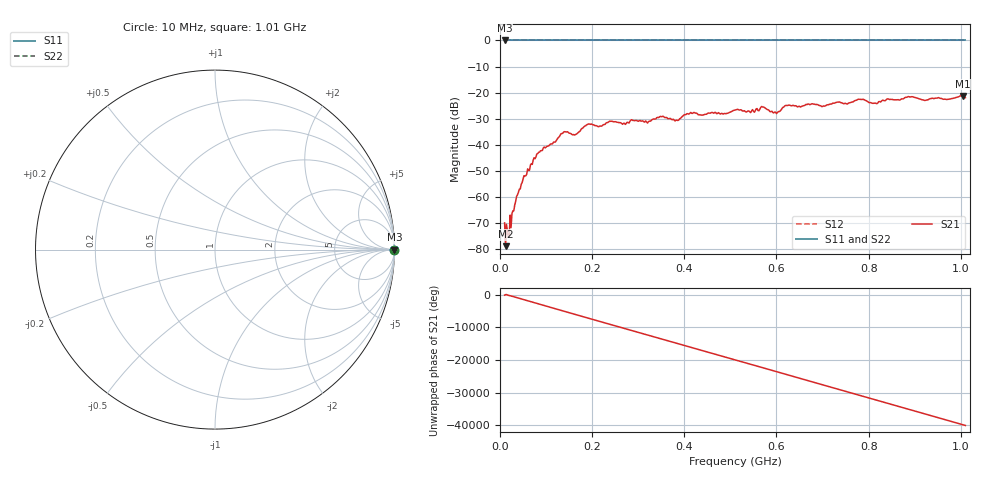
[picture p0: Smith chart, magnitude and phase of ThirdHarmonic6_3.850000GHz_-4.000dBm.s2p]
! 8/17/2025 1:25:46 PM
! C:\ANRITSUVNA\TEMP\TEMP.S2P
! CHANNEL.1
! TR.MEASUREMENT
! RAW.DATA
! RF.CORRECTION.OFF
! AVERAGING.OFF
! IF.BANDWIDTH: 5KHZ
! SWEEPTYPE:  FREQ.SWEEP(Linear)
! Reference Plane Port Info
! PORT:  PORT1  PORT2
! DISTANCE:  0  m  0  m
! TIME:  0  s  0  s
! PHASE.OFFSET:  0  deg.  0  deg.
! LOSS:  0  dB  0  dB
! REF.LOSS:  0  dB  0  dB
! REF.FREQ:  0  Hz  0  Hz
! Power Info
! POWER:  -20  dBm  -20  dBm
! EFF.POWER:  -20  dBm  -20  dBm
! SOURCE.ATTEN:  0  dB  0  dB
! TEST.ATTEN:  0  dB  0  dB
# GHZ S RI R 50.0
! FREQ.GHZ  S11RE  S11IM  S21RE  S21IM  S12RE  S12IM  S22RE  S22IM
!; PortSelection: Port_12
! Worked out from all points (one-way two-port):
!   501 points, 10 MHz to 1.01 GHz, reference 50 ohm
!   highest |S21| = -21.27 dB at 1.004 GHz (marker M1); lowest = -79.0 dB at 12 MHz (marker M2)
!   lowest |S11| = 0.0 dB at 10 MHz (marker M3)
!   |S11| at or under -10 dB: nowhere
!   |S22| runs from 0.0 to 0.0 dB; largest |S21 - S12| = 1.1
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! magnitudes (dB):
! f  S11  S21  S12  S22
! 10 MHz  0.0  -70.0  0.0  0.0
! 12 MHz  0.0  -79.0  0.0  0.0
! 16 MHz  0.0  -73.1  0.0  0.0
! 36 MHz  0.0  -59.9  0.0  0.0
! 50 MHz  0.0  -53.3  0.0  0.0
! 84 MHz  0.0  -42.9  0.0  0.0
! 136 MHz  0.0  -35.7  0.0  0.0
! 162 MHz  0.0  -36.3  0.0  0.0
! 178 MHz  0.0  -33.8  0.0  0.0
! 194 MHz  0.0  -32.1  0.0  0.0
! 322 MHz  0.0  -31.2  0.0  0.0
! 344 MHz  0.0  -29.6  0.0  0.0
! 384 MHz  0.0  -30.6  0.0  0.0
! 410 MHz  0.0  -28.3  0.0  0.0
! 510 MHz  0.0  -26.7  0.0  0.0
! 570 MHz  0.0  -25.5  0.0  0.0
! 598 MHz  0.0  -27.5  0.0  0.0
! 622 MHz  0.0  -25.0  0.0  0.0
! 678 MHz  0.0  -24.3  0.0  0.0
! 844 MHz  0.0  -22.6  0.0  0.0
! 1.004 GHz  0.0  -21.3  0.0  0.0
! 1.01 GHz  0.0  -21.9  0.0  0.0
